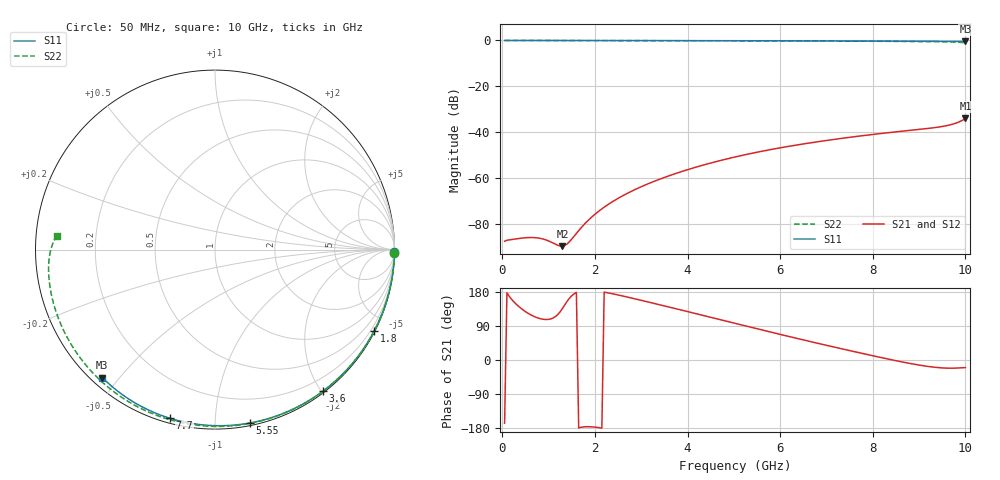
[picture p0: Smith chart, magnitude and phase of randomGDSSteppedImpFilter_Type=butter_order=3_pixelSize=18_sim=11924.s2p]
! freq	dB(S11)	phase(S11)	dB(S12)	phase(S12)
!  dB(S21)	phase(S21)	dB(S22)	phase(S22)
!S-par simulation data
#  GHz  S  DB  R 50
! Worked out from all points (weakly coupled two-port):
!   200 points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, 50 MHz to 10 GHz, reference 50 ohm
!   highest |S21| = -33.97 dB at 10 GHz (marker M1); lowest = -89.6 dB at 1.3 GHz (marker M2)
!   lowest |S11| = -0.4 dB at 10 GHz (marker M3), VSWR 38.95, Z = 1.55 - j22.6 ohm
!   |S11| at or under -10 dB: nowhere
!   |S22| runs from -1.1 to 0.0 dB; largest |S21 - S12| = 0
!   S11 on the Smith chart (normalised r, x): 50 MHz: open; 1.8 GHz: 0.04, -4.18; 3.6 GHz: 0.02, -2.02; 5.55 GHz: 0.02, -1.22; 7.7 GHz: 0.02, -0.77; 10 GHz: 0.03, -0.45
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0.05  -0.00 -0.8  -87.42 -166.6  -87.42 -166.6  -0.00 -1.0
0.65  -0.01 -9.8  -85.81 117.0  -85.81 117.0  -0.01 -13.5
1.3  -0.02 -19.6  -89.57 136.2  -89.57 136.2  -0.03 -26.8
1.75  -0.03 -26.2  -80.49 -176.6  -80.49 -176.6  -0.05 -35.8
1.8  -0.03 -26.9  -79.42 -176.1  -79.42 -176.1  -0.05 -36.8
1.95  -0.04 -29.1  -76.55 -176.5  -76.55 -176.5  -0.05 -39.8
2.1  -0.04 -31.3  -74.07 -178.8  -74.07 -178.8  -0.05 -42.8
2.45  -0.05 -36.4  -69.34 173.0  -69.34 173.0  -0.06 -49.6
2.9  -0.06 -42.8  -64.60 160.4  -64.60 160.4  -0.07 -58.2
3.4  -0.07 -49.9  -60.40 145.7  -60.40 145.7  -0.09 -67.6
3.6  -0.07 -52.7  -58.93 139.8  -58.93 139.8  -0.10 -71.3
4.3  -0.09 -62.2  -54.48 118.8  -54.48 118.8  -0.12 -83.9
5.05  -0.11 -72.2  -50.62 96.1  -50.62 96.1  -0.15 -97.0
5.55  -0.13 -78.6  -48.46 81.0  -48.46 81.0  -0.17 -105.4
6.1  -0.15 -85.6  -46.39 64.7  -46.39 64.7  -0.20 -114.6
6.7  -0.18 -93.0  -44.43 47.3  -44.43 47.3  -0.24 -124.4
7.7  -0.24 -105.0  -41.66 19.4  -41.66 19.4  -0.32 -140.6
8.35  -0.29 -112.6  -40.12 2.0  -40.12 2.0  -0.39 -151.3
9  -0.34 -120.1  -38.74 -13.4  -38.74 -13.4  -0.47 -162.4
9.55  -0.40 -126.3  -37.28 -21.2  -37.28 -21.2  -0.59 -173.0
9.8  -0.42 -129.1  -35.97 -21.4  -35.97 -21.4  -0.73 -178.9
10  -0.45 -131.3  -33.97 -20.0  -33.97 -20.0  -1.06 175.0
